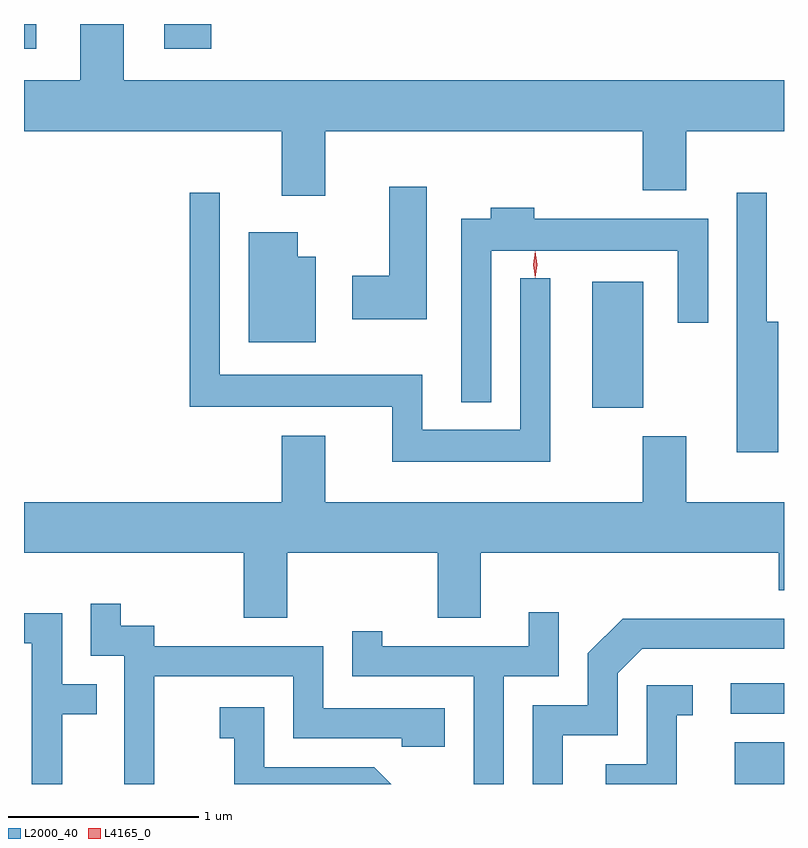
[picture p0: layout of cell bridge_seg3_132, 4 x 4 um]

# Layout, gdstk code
import gdstk
lib = gdstk.Library(unit=1e-6, precision=1e-09)
def R(c, l, rs):  # rectangles x0, y0, x1, y1
    for r in rs: c.add(gdstk.rectangle(r[:2], r[2:], *l))
def P(c, l, *ps):  # polygons
    for p in ps: c.add(gdstk.Polygon(p, *l))
L2000_40 = (2000, 40)
L4165_0 = (4165, 0)

bridge_seg3_132 = lib.new_cell('bridge_seg3_132')
R(bridge_seg3_132, L2000_40, [(888.666,1184.74,888.924,1184.959), (888.643,1185.111,888.924,1185.269), (887.916,1186.721,888.184,1187.384), (884.924,1188.611,884.989,1188.74), (885.661,1188.611,885.909,1188.74)])
P(bridge_seg3_132, L2000_40, [(886.509,1188.176),(888.181,1188.176),(888.181,1187.866),(888.409,1187.866),(888.409,1188.176),(888.924,1188.176),(888.924,1188.444),(885.449,1188.444),(885.449,1188.74),(885.221,1188.74),(885.221,1188.444),(884.924,1188.444),(884.924,1188.176),(886.281,1188.176),(886.281,1187.836),(886.509,1187.836)],
  [(887.044,1187.884),(886.846,1187.884),(886.846,1187.414),(886.651,1187.414),(886.651,1187.186),(887.044,1187.186)],
  [(888.894,1187.174),(888.834,1187.174),(888.834,1187.853),(888.676,1187.853),(888.676,1186.486),(888.894,1186.486)],
  [(887.694,1187.403),(887.536,1187.403),(887.536,1186.604),(887.019,1186.604),(887.019,1186.894),(885.954,1186.894),(885.954,1187.853),(885.796,1187.853),(885.796,1186.726),(886.861,1186.726),(886.861,1186.436),(887.694,1186.436)],
  [(887.384,1187.546),(888.366,1187.546),(888.366,1187.168),(888.524,1187.168),(888.524,1187.714),(887.609,1187.714),(887.609,1187.774),(887.381,1187.774),(887.381,1187.714),(887.226,1187.714),(887.226,1186.748),(887.384,1186.748)],
  [(886.459,1187.514),(886.364,1187.514),(886.364,1187.644),(886.106,1187.644),(886.106,1187.066),(886.459,1187.066)],
  [(886.309,1185.956),(887.101,1185.956),(887.101,1185.616),(887.329,1185.616),(887.329,1185.956),(888.896,1185.956),(888.896,1185.761),(888.924,1185.761),(888.924,1186.224),(888.409,1186.224),(888.409,1186.569),(888.181,1186.569),(888.181,1186.224),(886.509,1186.224),(886.509,1186.574),(886.281,1186.574),(886.281,1186.224),(884.924,1186.224),(884.924,1185.956),(886.081,1185.956),(886.081,1185.616),(886.309,1185.616)],
  [(885.609,1185.306),(886.341,1185.306),(886.341,1184.981),(886.911,1184.981),(886.911,1184.936),(887.139,1184.936),(887.139,1185.139),(886.499,1185.139),(886.499,1185.464),(885.609,1185.464),(885.609,1185.574),(885.434,1185.574),(885.434,1185.688),(885.276,1185.688),(885.276,1185.416),(885.451,1185.416),(885.451,1184.74),(885.609,1184.74)],
  [(887.449,1185.306),(887.739,1185.306),(887.739,1185.643),(887.581,1185.643),(887.581,1185.464),(886.809,1185.464),(886.809,1185.543),(886.651,1185.543),(886.651,1185.306),(887.291,1185.306),(887.291,1184.74),(887.449,1184.74)],
  [(885.124,1185.106),(885.308,1185.106),(885.308,1185.264),(885.124,1185.264),(885.124,1185.639),(884.924,1185.639),(884.924,1185.481),(884.966,1185.481),(884.966,1184.74),(885.124,1184.74)],
  [(887.759,1184.996),(888.049,1184.996),(888.049,1185.324),(888.177,1185.451),(888.924,1185.451),(888.924,1185.609),(888.074,1185.609),(887.891,1185.427),(887.891,1185.154),(887.601,1185.154),(887.601,1184.74),(887.759,1184.74)],
  [(888.359,1185.101),(888.443,1185.101),(888.443,1185.259),(888.201,1185.259),(888.201,1184.844),(887.986,1184.844),(887.986,1184.74),(888.359,1184.74)],
  [(886.767,1184.829),(886.189,1184.829),(886.189,1185.144),(885.953,1185.144),(885.953,1184.981),(886.031,1184.981),(886.031,1184.74),(886.856,1184.74)])
P(bridge_seg3_132, L4165_0, [(887.616,1187.407),(887.615,1187.408),(887.606,1187.474),(887.615,1187.54),(887.616,1187.541),(887.616,1187.54),(887.626,1187.474),(887.616,1187.408)],
  [(887.614,1187.404),(887.614,1187.404),(887.604,1187.474),(887.614,1187.543),(887.614,1187.543),(887.615,1187.543),(887.624,1187.474),(887.615,1187.404)])

lib.write_gds('bridge_seg3_132.gds')
